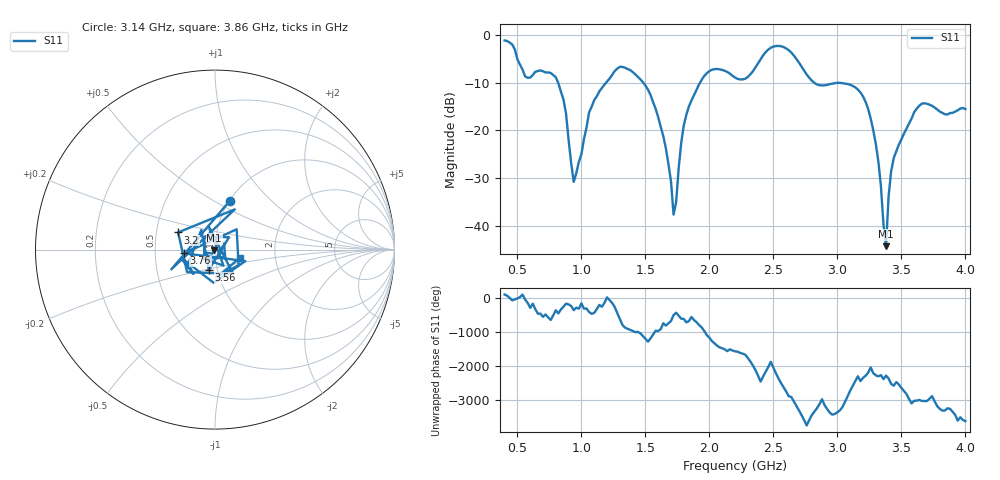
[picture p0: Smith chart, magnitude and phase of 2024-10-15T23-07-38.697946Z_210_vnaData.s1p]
! Created with skrf (http://scikit-rf.org).
# Hz S RI R 50.0
!freq ReS11 ImS11
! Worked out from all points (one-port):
!   181 points, 400 MHz to 4 GHz, reference 50 ohm
!   lowest |S11| = -44.2 dB at 3.38 GHz (marker M1), VSWR 1.01, Z = 49.6 - j0.427 ohm
!   |S11| at or under -10 dB: 817.9 MHz to 1.193 GHz (375.5 MHz wide, 37.3 % of centre); 1.483 GHz to 1.927 GHz (444.2 MHz wide, 26.1 % of centre); 2.818 GHz to end of sweep
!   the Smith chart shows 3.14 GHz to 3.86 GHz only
!   S11 on the Smith chart (normalised r, x): 3.14 GHz: 1.00, +0.59; 3.2 GHz: 0.65, +0.13; 3.56 GHz: 0.91, -0.21; 3.76 GHz: 0.71, -0.03; 3.86 GHz: 1.32, -0.12
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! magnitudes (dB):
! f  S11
! 400 MHz  -1.2
! 560 MHz  -8.7
! 760 MHz  -8.0
! 860 MHz  -13.6
! 940 MHz  -30.8
! 1.06 GHz  -16.2
! 1.3 GHz  -6.7
! 1.58 GHz  -15.5
! 1.66 GHz  -23.8
! 1.72 GHz  -37.6
! 1.76 GHz  -27.9
! 1.82 GHz  -16.7
! 1.94 GHz  -9.4
! 2.2 GHz  -8.9
! 2.5 GHz  -2.5
! 2.66 GHz  -4.3
! 2.84 GHz  -10.4
! 3.1 GHz  -10.4
! 3.14 GHz  -11.0
! 3.2 GHz  -12.9
! 3.3 GHz  -22.8
! 3.38 GHz  -44.2
! 3.4 GHz  -33.7
! 3.42 GHz  -28.5
! 3.56 GHz  -18.6
! 3.76 GHz  -15.2
! 3.86 GHz  -16.7
! 4 GHz  -15.5
